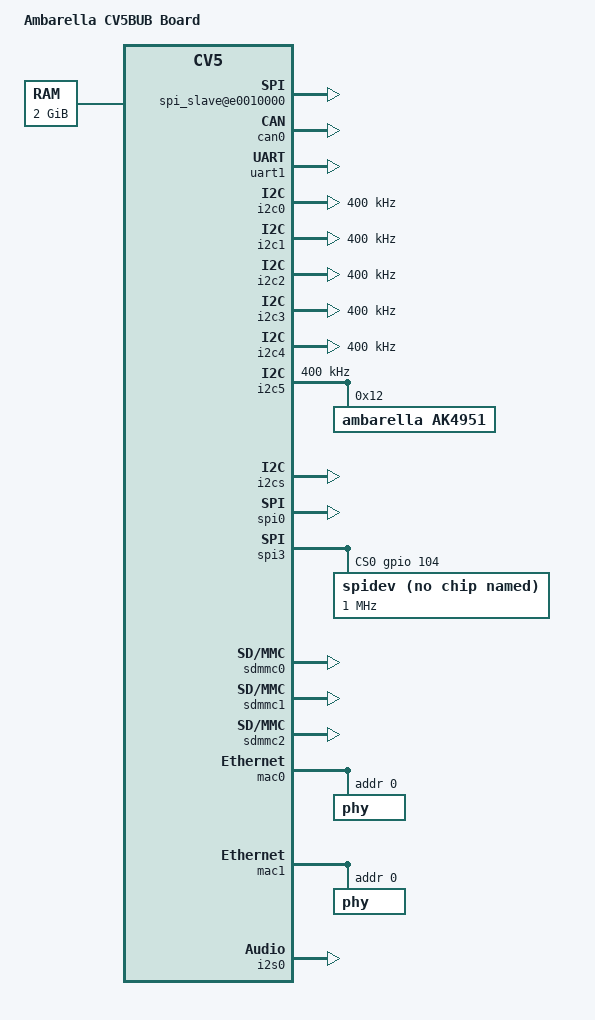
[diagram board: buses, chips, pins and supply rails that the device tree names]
/*
 * board level device tree source
 */

/dts-v1/;

/include/ "cv5.510.dtsi"

/ {
	model = "Ambarella CV5BUB Board";
	compatible = "ambarella,cv5bub", "ambarella,cv5";

	chosen {
		bootargs = "ubi.mtd=5 root=ubi0:linux rootfstype=ubifs console=ttyS0 nosmp maxcpus=0";
	};

	memory {
		device_type = "memory";
		reg = <0x0 0x200000 0x0 0x7fe00000>;
	};

	/*specify cpu_release_addr+0x8 at amba_bld.map*/
	/*cpus {
		cpu@0 {
			cpu-release-addr = <0x0 0x170>;
			enable-method = "spin-table";
		};

		cpu@1 {
			cpu-release-addr = <0x0 0x178>;
			enable-method = "spin-table";
			cpu-release-addr = <0x0 0x100002e8>;
		};
	};*/

	ddr-controller@1000004000 {
		burst-size = <0x40>;
	};

	apb@20e4000000 {

	};

	ahb@20e0000000 {
		spi_slave@e0010000 {
			/delete-property/pinctrl-0;
			status = "ok";
		};
		nand@e0002000 {
			amb,timing = <0x303320c 0x5050505 0x71464 0x0 0x0 0x0>;
		};
		can0: can@e0027000 {
			status = "ok";
		};
	};

	sound {
		compatible = "ambarella,audio-board";
		simple-audio-card,name = "ak4951 @ AMBEVK";
		simple-audio-card,mclk-fs = <256>;
		simple-audio-card,widgets =
		"Speaker", "Speaker",
		"Headphone", "HP Jack",
		"Line", "Line In",
		"Line", "Line Out",
		"Microphone", "Mic Internal",
		"Microphone", "Mic External";
		simple-audio-card,routing =
		"LIN2", "Mic Bias",
		"RIN2", "Mic Bias",
		"Mic Bias", "Mic Internal",
		"LIN3", "Line In",
		"RIN3", "Line In",
		"Line Out", "SPKLO",
		"HP Jack", "HPL",
		"HP Jack", "HPR",
		"Speaker", "SPKLO";

		simple-audio-card,dai-link@0 {
			format = "i2s";

			cpu {
				sound-dai = <&i2s0>;
			};

			codec {
				sound-dai = <&ak4951>;
			};
		};

	};

	/* /delete-node/ psci; */
};

&uart1 {
	status = "ok";
};

&i2c0 {
	clock-frequency = <400000>;
	status = "ok";
};

&i2c1 {
	clock-frequency = <400000>;
	pinctrl-0 = <&i2c1_pins_a>;
	status = "ok";
};

&i2c2 {
	clock-frequency = <400000>;
	pinctrl-0 = <&i2c2_pins_a>;
	status = "ok";
};

&i2c3 {
	clock-frequency = <400000>;
	status = "ok";
};

&i2c4 {
	clock-frequency = <400000>;
	status = "ok";
};

&i2c5 {
	clock-frequency = <400000>;
	pinctrl-0 = <&i2c5_pins_b>;
	status = "ok";

	ak4951: codec@12 {
		compatible = "ambarella,ak4951";
		#sound-dai-cells = <0>;
		reg = <0x12>;
	};
};

&i2cs {
	pinctrl-0 = <&i2cs0_pins_e>;
	status = "ok";

	/* echo "slave-24c02 0x1062 > /sys/bus/i2c/devices/i2c-5/new_device */
	/*slave-24c02@62{
		compatible = "slave-24c02";
		reg = <0x40000062>;
	};*/
};

&spi0 {
	/delete-property/pinctrl-0;
	status = "ok";
	cs-gpios = <&gpio 4 0>;
};

&spi3 {
	status = "ok";
	cs-gpios = <&gpio 104 0>;
	spidev@0 {
			compatible = "ambarella,spidev";
			spi-max-frequency = <1000000>;
			reg = <0>;
			spi-cpha;
			spi-cpol;
	};
};

&spi4 {
	pinctrl-0 = <&spi4_pins_b>;
};

&spi5 {
	pinctrl-0 = <&spi5_pins_b>;
};

&sdmmc0 {
	pwr-gpios = <&gpio 91 0x0>;
	v18-gpios = <&gpio 129 0x0>;
	post-power-on-delay-ms = <10>;
	status = "ok";
};

&sdmmc1 {
	/*pwr-gpios = <&gpio 100 0x0>;*/
	/*v18-gpios = <&gpio 130 0x0>;*/
	/*post-power-on-delay-ms = <10>;*/
	status = "ok";
};

&sdmmc2 {
	/delete-property/pinctrl-0;
	pwr-gpios = <&gpio 109 0x1>;
	v18-gpios = <&gpio 132 0x1>;
	status = "ok";
};

&mac0 {
	amb,tx-clk-invert;

	phy@0 {
		reg = <0>;
	};
};

&mac1 {
	amb,tx-clk-invert;

	phy@0 {
		reg = <0>;
	};
};

&i2s0 {
	status = "ok";
};

&usb_cdnsp {
	pinctrl-names = "default";
	pinctrl-0 = <&usb_host0_pins_f>;
};

&hdmi {
	amb,i2c-adapter = <2>;
};

&pciec {
	compatible = "cdns,cdns-pcie-host";
	/*compatible = "cdns,cdns-pcie-ep";*/
};

